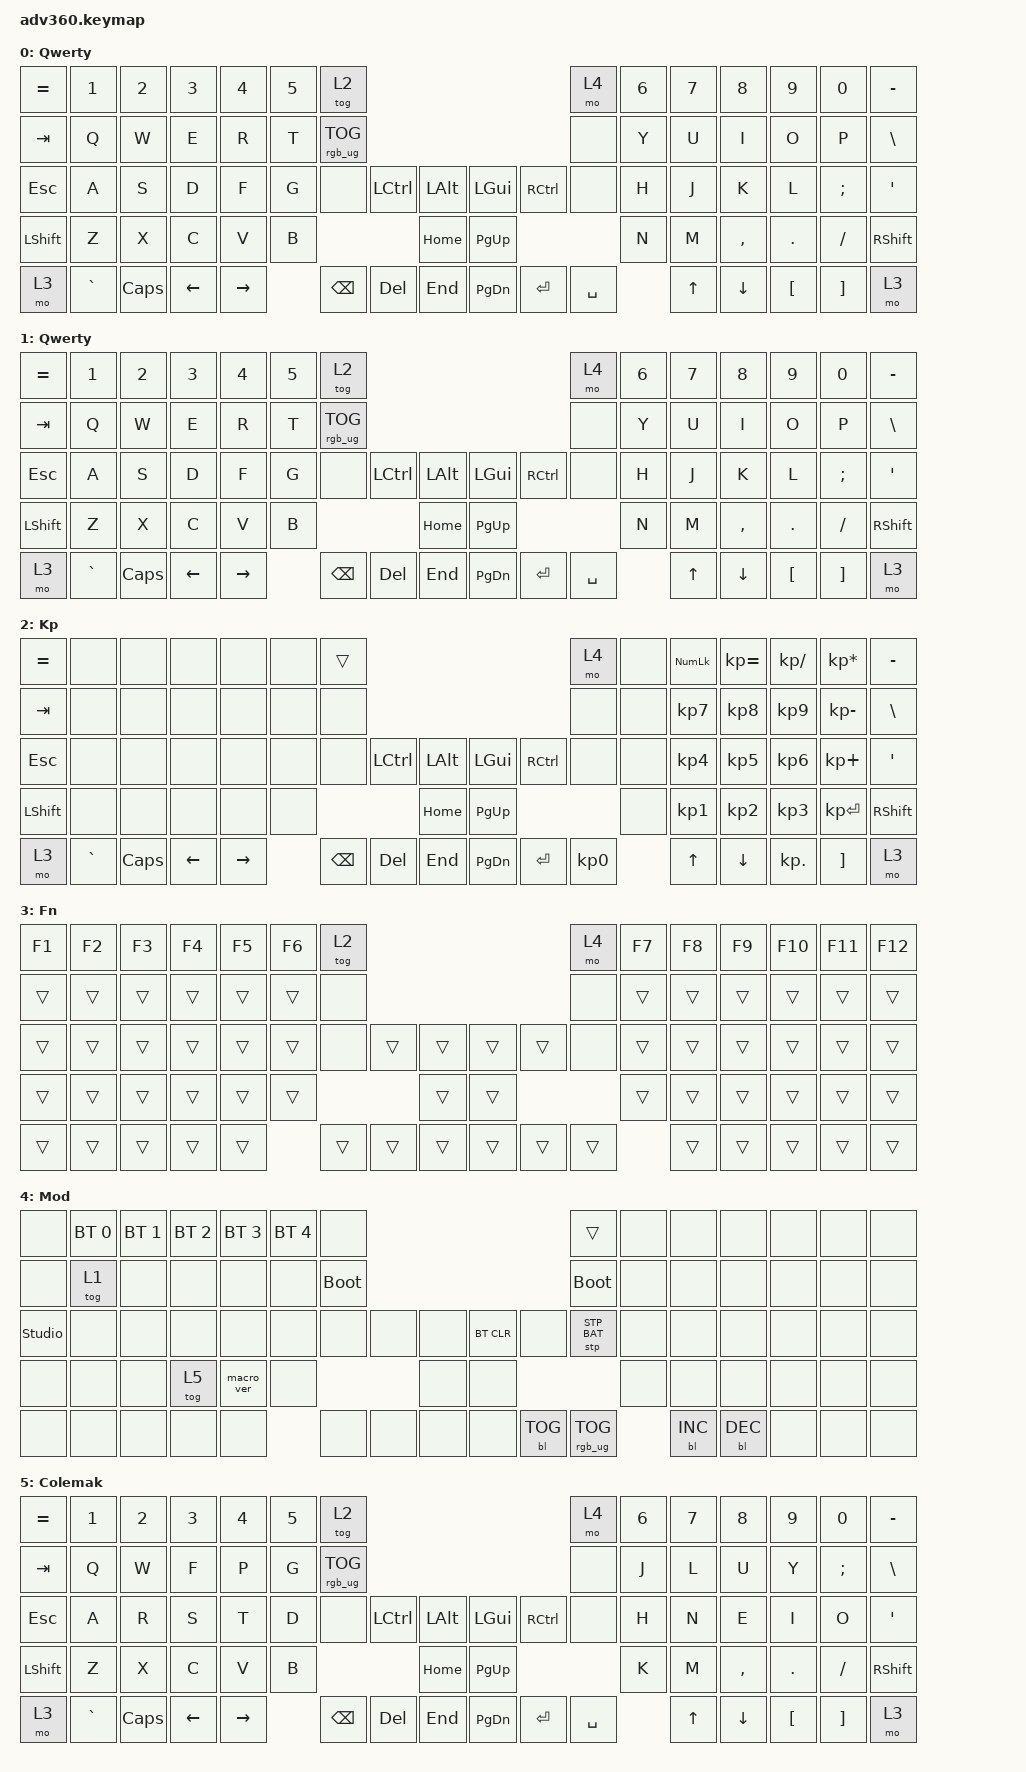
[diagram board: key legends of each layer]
#include <dt-bindings/zmk/stp.h>
#include <behaviors.dtsi>
#include <dt-bindings/zmk/backlight.h>
#include <dt-bindings/zmk/bt.h>
#include <dt-bindings/zmk/keys.h>
#include <dt-bindings/zmk/rgb.h>

/ {
    behaviors {
        #include "macros.dtsi"
      #include "version.dtsi"
    };

    keymap {
        compatible = "zmk,keymap";

        default_layer {
            display-name = "Qwerty";
            bindings = <
&kp EQUAL  &kp N1     &kp N2    &kp N3    &kp N4     &kp N5  &tog 2                                                          &mo 4      &kp N6  &kp N7  &kp N8     &kp N9    &kp N0    &kp MINUS
&kp TAB    &kp Q      &kp W     &kp E     &kp R      &kp T   &rgb_ug RGB_TOG                                                 &none      &kp Y   &kp U   &kp I      &kp O     &kp P     &kp BSLH
&kp ESC    &kp A      &kp S     &kp D     &kp F      &kp G   &none            &kp LCTRL  &kp LALT      &kp LGUI   &kp RCTRL  &none      &kp H   &kp J   &kp K      &kp L     &kp SEMI  &kp SQT
&kp LSHFT  &kp Z      &kp X     &kp C     &kp V      &kp B                               &kp HOME      &kp PG_UP                        &kp N   &kp M   &kp COMMA  &kp DOT   &kp FSLH  &kp RSHFT
&mo 3      &kp GRAVE  &kp CAPS  &kp LEFT  &kp RIGHT          &kp BSPC         &kp DEL    &kp END       &kp PG_DN  &kp ENTER  &kp SPACE          &kp UP  &kp DOWN   &kp LBKT  &kp RBKT  &mo 3
            >;
        };

        Qwerty {
            display-name = "Qwerty";
            bindings = <
&kp EQUAL  &kp N1     &kp N2    &kp N3    &kp N4     &kp N5  &tog 2                                                          &mo 4      &kp N6  &kp N7  &kp N8     &kp N9    &kp N0    &kp MINUS
&kp TAB    &kp Q      &kp W     &kp E     &kp R      &kp T   &rgb_ug RGB_TOG                                                 &none      &kp Y   &kp U   &kp I      &kp O     &kp P     &kp BSLH
&kp ESC    &kp A      &kp S     &kp D     &kp F      &kp G   &none            &kp LCTRL  &kp LALT      &kp LGUI   &kp RCTRL  &none      &kp H   &kp J   &kp K      &kp L     &kp SEMI  &kp SQT
&kp LSHFT  &kp Z      &kp X     &kp C     &kp V      &kp B                               &kp HOME      &kp PG_UP                        &kp N   &kp M   &kp COMMA  &kp DOT   &kp FSLH  &kp RSHFT
&mo 3      &kp GRAVE  &kp CAPS  &kp LEFT  &kp RIGHT          &kp BSPC         &kp DEL    &kp END       &kp PG_DN  &kp ENTER  &kp SPACE          &kp UP  &kp DOWN   &kp LBKT  &kp RBKT  &mo 3
            >;
        };

        keypad {
            display-name = "Kp";
            bindings = <
&kp EQUAL  &none      &none     &none     &none      &none  &trans                                                   &mo 4      &none  &kp KP_NUM  &kp KP_EQUAL  &kp KP_DIVIDE  &kp KP_MULTIPLY  &kp MINUS
&kp TAB    &none      &none     &none     &none      &none  &none                                                    &none      &none  &kp KP_N7   &kp KP_N8     &kp KP_N9      &kp KP_MINUS     &kp BSLH
&kp ESC    &none      &none     &none     &none      &none  &none     &kp LCTRL  &kp LALT      &kp LGUI   &kp RCTRL  &none      &none  &kp KP_N4   &kp KP_N5     &kp KP_N6      &kp KP_PLUS      &kp SQT
&kp LSHFT  &none      &none     &none     &none      &none                       &kp HOME      &kp PG_UP                        &none  &kp KP_N1   &kp KP_N2     &kp KP_N3      &kp KP_ENTER     &kp RSHFT
&mo 3      &kp GRAVE  &kp CAPS  &kp LEFT  &kp RIGHT         &kp BSPC  &kp DEL    &kp END       &kp PG_DN  &kp ENTER  &kp KP_N0         &kp UP      &kp DOWN      &kp KP_DOT     &kp RBKT         &mo 3
            >;
        };

        fn {
            display-name = "Fn";
            bindings = <
&kp F1  &kp F2  &kp F3  &kp F4  &kp F5  &kp F6  &tog 2                                      &mo 4   &kp F7  &kp F8  &kp F9  &kp F10  &kp F11  &kp F12
&trans  &trans  &trans  &trans  &trans  &trans  &none                                       &none   &trans  &trans  &trans  &trans   &trans   &trans
&trans  &trans  &trans  &trans  &trans  &trans  &none   &trans  &trans      &trans  &trans  &none   &trans  &trans  &trans  &trans   &trans   &trans
&trans  &trans  &trans  &trans  &trans  &trans                  &trans      &trans                  &trans  &trans  &trans  &trans   &trans   &trans
&trans  &trans  &trans  &trans  &trans          &trans  &trans  &trans      &trans  &trans  &trans          &trans  &trans  &trans   &trans   &trans
            >;
        };

        mod {
            display-name = "Mod";
            bindings = <
&none           &bt BT_SEL 0  &bt BT_SEL 1  &bt BT_SEL 2  &bt BT_SEL 3  &bt BT_SEL 4  &none                                                  &trans           &none  &none       &none       &none  &none  &none
&none           &tog 1        &none         &none         &none         &none         &bootloader                                            &bootloader      &none  &none       &none       &none  &none  &none
&studio_unlock  &none         &none         &none         &none         &none         &none        &none  &none      &bt BT_CLR  &none       &stp STP_BAT     &none  &none       &none       &none  &none  &none
&none           &none         &none         &tog 5        &macro_ver    &none                             &none      &none                                    &none  &none       &none       &none  &none  &none
&none           &none         &none         &none         &none                       &none        &none  &none      &none       &bl BL_TOG  &rgb_ug RGB_TOG         &bl BL_INC  &bl BL_DEC  &none  &none  &none
            >;
        };

        Colemak {
            display-name = "Colemak";
            bindings = <
&kp EQUAL  &kp N1     &kp N2    &kp N3    &kp N4     &kp N5  &tog 2                                                          &mo 4      &kp N6  &kp N7  &kp N8     &kp N9    &kp N0         &kp MINUS
&kp TAB    &kp Q      &kp W     &kp F     &kp P      &kp G   &rgb_ug RGB_TOG                                                 &none      &kp J   &kp L   &kp U      &kp Y     &kp SEMICOLON  &kp BSLH
&kp ESC    &kp A      &kp R     &kp S     &kp T      &kp D   &none            &kp LCTRL  &kp LALT      &kp LGUI   &kp RCTRL  &none      &kp H   &kp N   &kp E      &kp I     &kp O          &kp SQT
&kp LSHFT  &kp Z      &kp X     &kp C     &kp V      &kp B                               &kp HOME      &kp PG_UP                        &kp K   &kp M   &kp COMMA  &kp DOT   &kp FSLH       &kp RSHFT
&mo 3      &kp GRAVE  &kp CAPS  &kp LEFT  &kp RIGHT          &kp BSPC         &kp DEL    &kp END       &kp PG_DN  &kp ENTER  &kp SPACE          &kp UP  &kp DOWN   &kp LBKT  &kp RBKT       &mo 3
            >;
        };
    };
};
